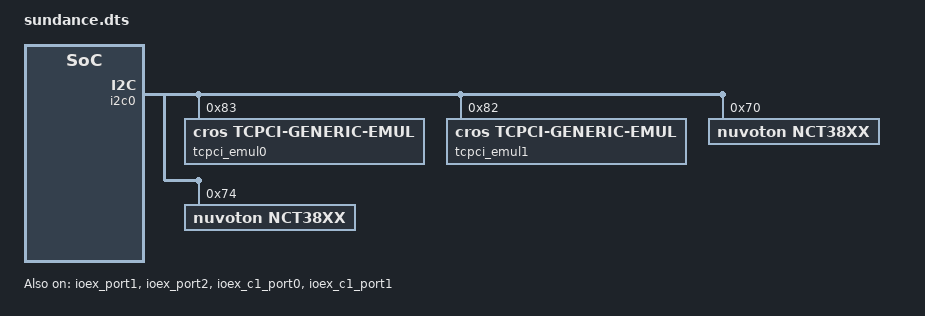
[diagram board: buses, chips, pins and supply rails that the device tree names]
/* Copyright 2023 The ChromiumOS Authors
 * Use of this source code is governed by a BSD-style license that can be
 * found in the LICENSE file.
 *
 * Device tree for a generic Nissa device based on a NPCX EC, suitable for board
 * unit tests.
 */
#include <npcx_emul.dts>

/ {
	aliases {
		gpio-en-sub-s5-rails = &gpio_sb_2;
		gpio-wp = &gpio_ec_wp_odl;
	};

	named-gpios {
		compatible = "named-gpios";

		gpio_ec_soc_dsw_pwrok: ec_soc_dsw_pwrok {
			gpios = <&gpio6 1 GPIO_OUTPUT>;
		};

		gpio_ec_wp_odl: ec_wp_odl {
			gpios = <&gpioa 1 (GPIO_INPUT | GPIO_ACTIVE_LOW)>;
		};

		entering_rw {
			gpios = <&gpio0 3 GPIO_OUTPUT>;
			enum-name = "GPIO_ENTERING_RW";
		};

		gpio_usb_c0_ppc_int_odl: usb_c0_ppc_int_odl {
			gpios = <&gpio0 5 (GPIO_INPUT | GPIO_ACTIVE_LOW)>;
			enum-name = "GPIO_USB_C0_PPC_INT_ODL";
		};

		gpio_usb_c1_ppc_int_odl: usb_c1_ppc_int_odl {
			gpios = <&gpio0 6 (GPIO_INPUT | GPIO_ACTIVE_LOW)>;
			enum-name = "GPIO_USB_C1_PPC_INT_ODL";
		};

		acok_od: acok_od {
			gpios = <&gpio0 4 GPIO_INPUT>;
			enum-name = "GPIO_AC_PRESENT";
		};

		gpio_usb_c0_c1_tcpc_int_odl: usb_c0_c1_tcpc_int_odl {
			gpios = <&gpiob 7 (GPIO_INPUT | GPIO_ACTIVE_LOW)>;
			enum-name = "GPIO_USB_C0_C1_TCPC_INT_ODL";
		};

		gpio_usb_c1_tcpc_int_odl: usb_c1_tcpc_int_odl {
			gpios = <&gpio0 1 (GPIO_INPUT | GPIO_ACTIVE_LOW)>;
			enum-name = "GPIO_USB_C1_TCPC_INT_ODL";
		};

		gpio_usb_c0_c1_tcpc_rst_odl: usb_c0_c1_tcpc_rst_l {
			gpios = <&gpio7 3 (GPIO_ODR_HIGH | GPIO_ACTIVE_LOW)>;
			enum-name = "GPIO_USB_C0_C1_TCPC_RST_ODL";
		};

		gpio_usb_c1_tcpc_rst_odl: usb_c1_tcpc_rst_l {
			gpios = <&gpiod 7 (GPIO_ODR_HIGH | GPIO_ACTIVE_LOW)>;
			enum-name = "GPIO_USB_C1_TCPC_RST_L";
		};

		ioex_usb_c0_frs_en: usb_c0_frs_en {
			gpios = <&ioex_port1 6 GPIO_OUTPUT_LOW>;
		};
		ioex_usb_c1_frs_en: usb_c1_frs_en {
			gpios = <&ioex_port2 6 GPIO_OUTPUT_LOW>;
		};
		gpio_sb_2: volup_btn_odl {
			gpios = <&gpio9 3 GPIO_OUTPUT>;
			no-auto-init;
		};
		gpio_led_1_odl: led_1_odl {
			gpios = <&gpioc 4 GPIO_OUTPUT_LOW>;
		};
		gpio_led_2_odl: led_2_odl {
			gpios = <&gpioc 3 GPIO_OUTPUT_LOW>;
		};
	};

	named-i2c-ports {
		compatible = "named-i2c-ports";
		i2c_ec_i2c_batt: ec_i2c_batt {
			i2c-port = <&i2c_ctrl7>;
			enum-names = "I2C_PORT_BATTERY";
		};
		i2c_ec_i2c_usb_c0: ec_i2c_usb_c0 {
			i2c-port = <&i2c0>;
			enum-names = "I2C_PORT_USB_C0_TCPC";
		};
		i2c_ec_i2c_sub_usb_c1: ec_i2c_sub_usb_c1 {
			i2c-port = <&i2c0>;
			enum-names = "I2C_PORT_USB_C1_TCPC";
		};
	};

	gpio-interrupts {
		compatible = "cros-ec,gpio-interrupts";

		int_usb_c0: usb_c0 {
			irq-pin = <&gpio_usb_c0_c1_tcpc_int_odl>;
			flags = <GPIO_INT_EDGE_FALLING>;
			handler = "usb_interrupt_c0";
		};

		int_usb_c1: usb_c1 {
			irq-pin = <&gpio_usb_c1_tcpc_int_odl>;
			flags = <GPIO_INT_EDGE_FALLING>;
			handler = "usb_interrupt_c1";
		};
	};

	ioex_port1: gpio@1100 {
		status = "okay";
		compatible = "zephyr,gpio-emul";
		reg = <0x1100 0x4>;
		rising-edge;
		falling-edge;
		high-level;
		low-level;
		gpio-controller;
		#gpio-cells = <2>;
		ngpios = <8>;
	};

	ioex_port2: gpio@1200 {
		status = "okay";
		compatible = "zephyr,gpio-emul";
		reg = <0x1200 0x4>;
		rising-edge;
		falling-edge;
		high-level;
		low-level;
		gpio-controller;
		#gpio-cells = <2>;
		ngpios = <8>;
	};

	ioex_c1_port0: gpio@1300 {
		status = "okay";
		compatible = "zephyr,gpio-emul";
		reg = <0x1300 0x4>;
		rising-edge;
		falling-edge;
		high-level;
		low-level;
		gpio-controller;
		#gpio-cells = <2>;
		ngpios = <8>;
	};

	ioex_c1_port1: gpio@1400 {
		status = "okay";
		compatible = "zephyr,gpio-emul";
		reg = <0x1400 0x4>;
		rising-edge;
		falling-edge;
		high-level;
		low-level;
		gpio-controller;
		#gpio-cells = <2>;
		ngpios = <8>;
	};

	usbc {
		#address-cells = <1>;
		#size-cells = <0>;

		port0@0 {
			compatible = "named-usbc-port";
			reg = <0>;
			tcpc = <&tcpc_port0>;
			usb-mux-chain-0 {
				compatible = "cros-ec,usb-mux-chain";
				usb-muxes = <&virtual_mux_0>;
			};
		};
		port0-muxes {
			virtual_mux_0: virtual-mux-0 {
				compatible = "cros-ec,usbc-mux-virtual";
			};
		};
		/*
		 * TODO(b:211693800): port1 may not be present on some
		 * sub-boards.
		 */
		port1@1 {
			compatible = "named-usbc-port";
			reg = <1>;
			tcpc = <&tcpc_port1>;
			usb-mux-chain-1 {
				compatible = "cros-ec,usb-mux-chain";
				usb-muxes = <&virtual_mux_1>;
			};
		};
		port1-muxes {
			virtual_mux_1: virtual-mux-1 {
				compatible = "cros-ec,usbc-mux-virtual";
			};
		};
	};
};

&i2c0 {
	status = "okay";

	tcpci_emul0: tcpci_emul@83 {
		compatible = "cros,tcpci-generic-emul";
		status = "okay";
		reg = <0x83>;
	};

	tcpci_emul1: tcpci_emul@82 {
		compatible = "cros,tcpci-generic-emul";
		status = "okay";
		reg = <0x82>;
	};

	nct38xx@70 {
		compatible = "nuvoton,nct38xx";
		reg = <0x70>;
		tcpc_port0: nct38xx-tcpc {
			compatible = "cros,nct38xx-emul",
				"nuvoton,nct38xx-tcpc";
			rst-gpios = <&gpio7 3 0x7>;
		};
	};
	nct38xx@74 {
		compatible = "nuvoton,nct38xx";
		reg = <0x74>;
		tcpc_port1: nct38xx-tcpc {
			compatible = "cros,nct38xx-emul",
				"nuvoton,nct38xx-tcpc";
			rst-gpios = <&gpio7 3 0x7>;
		};
	};
};
